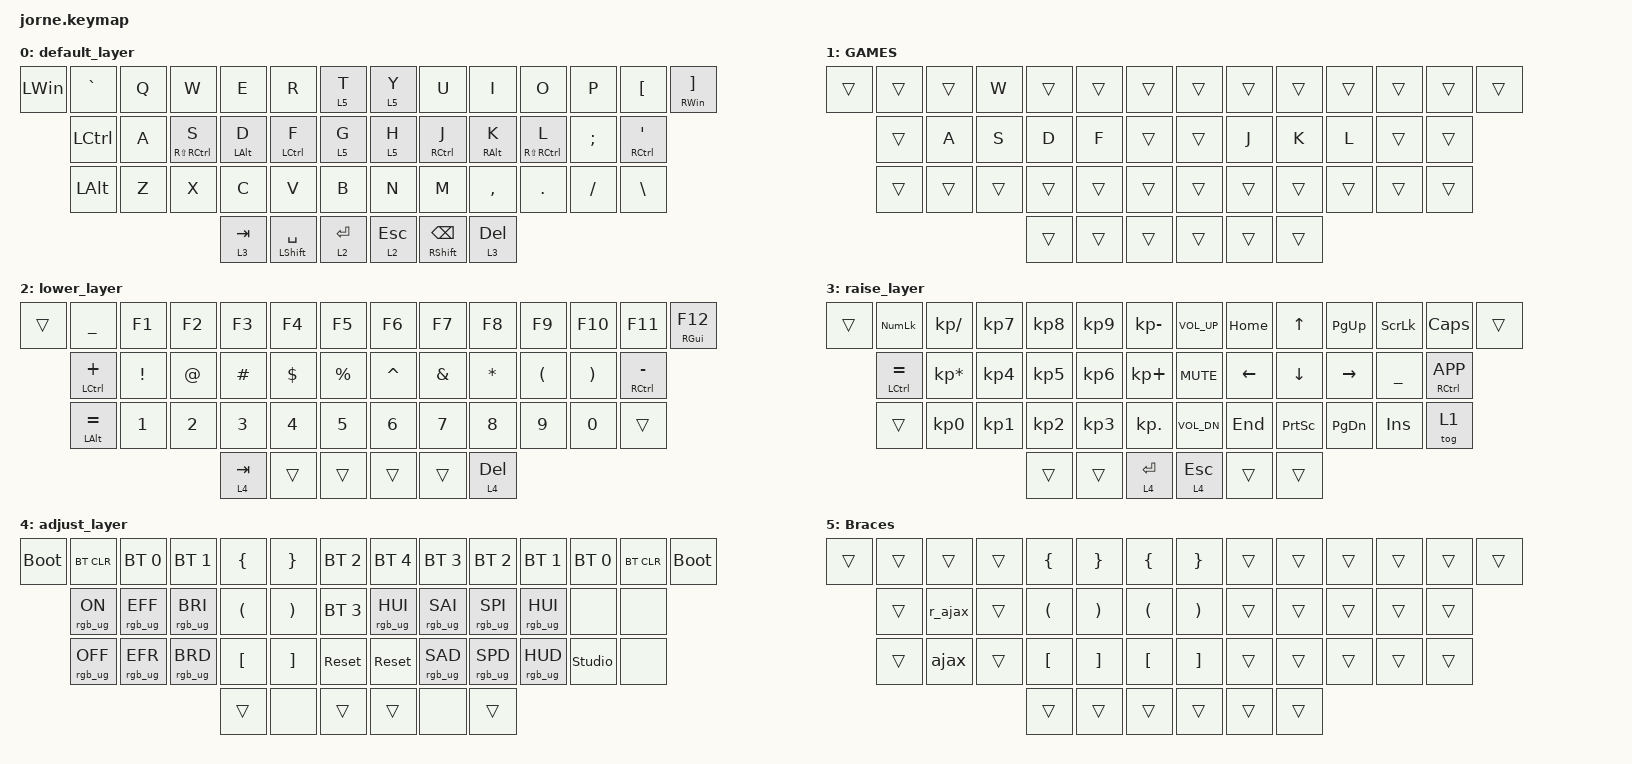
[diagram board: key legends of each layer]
/*
 * Copyright (c) 2020 The ZMK Contributors
 *
 * SPDX-License-Identifier: MIT
 */

#include <behaviors.dtsi>
#include <dt-bindings/zmk/bt.h>
#include <dt-bindings/zmk/keys.h>
#include <dt-bindings/zmk/rgb.h>

#define DEF 0
#define LWR 1
#define RSE 2
#define ADJ 3

&mt { quick-tap-ms = <200>; };

&lt { quick-tap-ms = <200>; };

/ {
    behaviors {
        hml: homewrow_mods_left {
            compatible = "zmk,behavior-hold-tap";
            label = "HML";
            bindings = <&kp>, <&kp>;

            #binding-cells = <2>;
            tapping-term-ms = <200>;
            flavor = "balanced";
            hold-trigger-key-positions = <7 8 9 10 11 12 13 20 21 22 23 24 25 32 33 34 35 36 37 41 42 43 30 29>;
            quick-tap-ms = <200>;
        };

        hmr: homewrow_mods_right {
            compatible = "zmk,behavior-hold-tap";
            label = "HMR";
            bindings = <&kp>, <&kp>;

            #binding-cells = <2>;
            tapping-term-ms = <200>;
            flavor = "balanced";
            hold-trigger-key-positions = <0 1 2 3 4 5 6 14 15 16 17 18 19 26 27 28 29 30 31 38 39 40>;
            quick-tap-ms = <200>;
        };
    };

    combos {
        compatible = "zmk,combos";

        CS_C {
            bindings = <&kp LC(INSERT)>;
            key-positions = <4 2>;
        };

        CS_V {
            bindings = <&kp RS(INSERT)>;
            key-positions = <5 2>;
        };
    };

    macros {
        r_ajax: pass {
            compatible = "zmk,behavior-macro";
            #binding-cells = <0>;
            bindings = <&kp R &kp O &kp O &kp T &kp ENTER &kp W &kp E &kp L &kp C &kp O &kp M &kp E &kp MINUS &kp T &kp O &kp MINUS &kp A &kp J &kp A &kp X &kp ENTER>;
            label = "PASS";
        };

        ajax: ajax {
            compatible = "zmk,behavior-macro";
            #binding-cells = <0>;
            bindings = <&kp W &kp E &kp L &kp C &kp O &kp M &kp E &kp MINUS &kp T &kp O &kp MINUS &kp A &kp J &kp A &kp X &kp ENTER>;
            label = "AJAX";
        };
    };

    keymap {
        compatible = "zmk,keymap";

        default_layer {
            // -----------------------------------------------------------------------------------------
            // |  GUI |   ~  |  Q  |  W  |  E  |  R  |  T  |   |  Y  |  U   |  I  |  O  |  P  |  [   | GUI/] |
            //        | CTRL |  A  |  S  |  D  |  F  |  G  |   |  H  |  J   |  K  |  L  |  ;  |CTRL/'|
            //        | LALT |  Z  |  X  |  C  |  V  |  B  |   |  N  |  M   |  ,  |  .  |  /  | RALT |
            //                           | RSE | SPC | LWR |   | LWR | BKSP | RSE |

            bindings = <
&kp LWIN  &kp GRAVE  &kp Q  &kp W             &kp E            &kp R                &lt 5 T      &lt 5 Y    &kp U                 &kp I             &kp O                     &kp P     &kp LBKT       &mt RWIN RBKT
          &kp LCTRL  &kp A  &hml RS(RCTRL) S  &hml LEFT_ALT D  &hml LEFT_CONTROL F  &lt 5 G      &lt 5 H    &hmr RIGHT_CONTROL J  &hmr RIGHT_ALT K  &hmr RS(RIGHT_CONTROL) L  &kp SEMI  &mt RCTRL SQT
          &kp LALT   &kp Z  &kp X             &kp C            &kp V                &kp B        &kp N      &kp M                 &kp COMMA         &kp DOT                   &kp FSLH  &kp BSLH
                                              &lt 3 TAB        &mt LSHFT SPACE      &lt 2 RET    &lt 2 ESC  &mt RSHFT BSPC        &lt 3 DEL
            >;
        };

        Games {
            bindings = <
&trans  &trans  &trans  &kp W   &trans  &trans  &trans    &trans  &trans  &trans  &trans  &trans  &trans  &trans
        &trans  &kp A   &kp S   &kp D   &kp F   &trans    &trans  &kp J   &kp K   &kp L   &trans  &trans
        &trans  &trans  &trans  &trans  &trans  &trans    &trans  &trans  &trans  &trans  &trans  &trans
                                &trans  &trans  &trans    &trans  &trans  &trans
            >;

            label = "GAMES";
        };

        lower_layer {
            // -----------------------------------------------------------------------------------------
            // |     |  _  |  F1 |  F2 |  F3 |  F4 |  F5 |   |  F6 |  F7 |  F8 |  F9 | F10 | F11 | F12 |
            //       |  +  |  !  |  @  |  #  |  $  |  %  |   |  ^  |  &  |  *  |  (  |  )  |  -  |
            //       |  =  |  1  |  2  |  3  |  4  |  5  |   |  6  |  7  |  8  |  9  |  0  |     |
            //                    | GUI |     | SPC |   | ENT |     | ALT |

            bindings = <
&trans  &kp UNDER       &kp F1    &kp F2  &kp F3     &kp F4    &kp F5       &kp F6     &kp F7    &kp F8     &kp F9    &kp F10   &kp F11          &mt RGUI F12
        &mt LCTRL PLUS  &kp EXCL  &kp AT  &kp HASH   &kp DLLR  &kp PRCNT    &kp CARET  &kp AMPS  &kp STAR   &kp LPAR  &kp RPAR  &mt RCTRL MINUS
        &mt LALT EQUAL  &kp N1    &kp N2  &kp N3     &kp N4    &kp N5       &kp N6     &kp N7    &kp N8     &kp N9    &kp N0    &trans
                                          &lt 4 TAB  &trans    &trans       &trans     &trans    &lt 4 DEL
            >;
        };

        raise_layer {
            // -----------------------------------------------------------------------------------------
            // |     | NMLK |  /  |  7  |  8  |  9  |  -  |   | VOLU| HOME| PRSC| PGUP| SCLK| CLCK|     |
            //       | CTRL |  *  |  4  |  5  |  6  |  +  |   | MUT | LEFT|  UP | RGHT| INS | APP |
            //       |      |  0  |  1  |  2  |  3  |  .  |   | VOLD| END | DOWN| PGDN| PAUS|     |
            //                          |     |     | ADJ |   | ADJ |     |     |

            bindings = <
&trans  &kp KP_NUM       &kp KP_SLASH     &kp KP_N7  &kp KP_N8  &kp KP_N9  &kp KP_MINUS    &kp C_VOL_UP  &kp HOME  &kp UP     &kp PG_UP  &kp SLCK   &kp CAPS         &trans
        &mt LCTRL EQUAL  &kp KP_MULTIPLY  &kp KP_N4  &kp KP_N5  &kp KP_N6  &kp KP_PLUS     &kp C_MUTE    &kp LEFT  &kp DOWN   &kp RIGHT  &kp UNDER  &mt RCTRL K_APP
        &trans           &kp KP_N0        &kp KP_N1  &kp KP_N2  &kp KP_N3  &kp KP_DOT      &kp C_VOL_DN  &kp END   &kp PSCRN  &kp PG_DN  &kp INS    &tog 1
                                                     &trans     &trans     &lt 4 RET       &lt 4 ESC     &trans    &trans
            >;
        };

        adjust_layer {
            // -----------------------------------------------------------------------------------------
            // | RST | BLDR |     |     |     |     |     |   |     |     |     |     |     | BLDR | RST |
            //       | BTCLR| BT0 | BT1 | BT2 | BT3 | BT4 |   | BT4 | BT3 | BT2 | BT1 | BT0 | BTCLR|
            //       |      |     |     |     |     |     |   |     |     |     |     |     |      |
            //                          |     |     |     |   |     |     |     |

            bindings = <
&bootloader  &bt BT_CLR       &bt BT_SEL 0     &bt BT_SEL 1     &kp LBRC  &kp RBRC  &bt BT_SEL 2    &bt BT_SEL 4     &bt BT_SEL 3     &bt BT_SEL 2     &bt BT_SEL 1     &bt BT_SEL 0    &bt BT_CLR  &bootloader
             &rgb_ug RGB_ON   &rgb_ug RGB_EFF  &rgb_ug RGB_BRI  &kp LPAR  &kp RPAR  &bt BT_SEL 3    &rgb_ug RGB_HUI  &rgb_ug RGB_SAI  &rgb_ug RGB_SPI  &rgb_ug RGB_HUI  &none           &none
             &rgb_ug RGB_OFF  &rgb_ug RGB_EFR  &rgb_ug RGB_BRD  &kp LBKT  &kp RBKT  &sys_reset      &sys_reset       &rgb_ug RGB_SAD  &rgb_ug RGB_SPD  &rgb_ug RGB_HUD  &studio_unlock  &none
                                                                &trans    &none     &trans          &trans           &none            &trans
            >;
        };

        Braces {
            bindings = <
&trans  &trans  &trans   &trans  &kp LEFT_BRACE        &kp RIGHT_BRACE        &kp LEFT_BRACE          &kp RIGHT_BRACE        &trans  &trans  &trans  &trans  &trans  &trans
        &trans  &r_ajax  &trans  &kp LEFT_PARENTHESIS  &kp RIGHT_PARENTHESIS  &kp LEFT_PARENTHESIS    &kp RIGHT_PARENTHESIS  &trans  &trans  &trans  &trans  &trans
        &trans  &ajax    &trans  &kp LEFT_BRACKET      &kp RIGHT_BRACKET      &kp LBKT                &kp RIGHT_BRACKET      &trans  &trans  &trans  &trans  &trans
                                 &trans                &trans                 &trans                  &trans                 &trans  &trans
            >;
        };
    };
};
